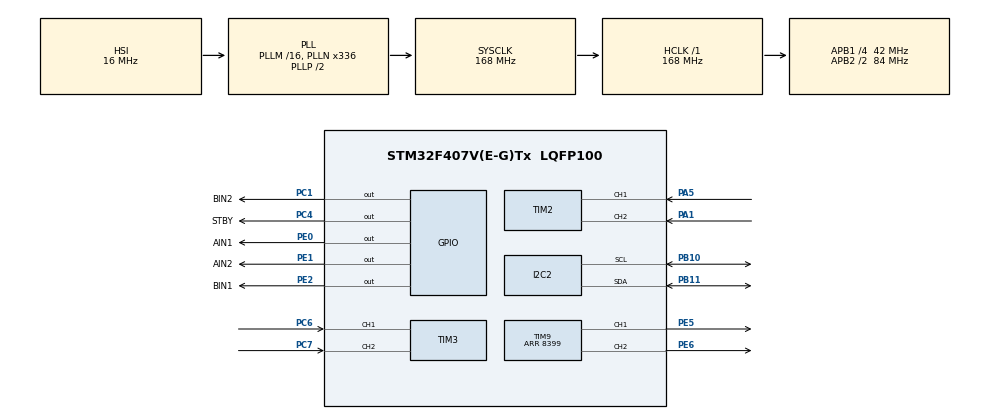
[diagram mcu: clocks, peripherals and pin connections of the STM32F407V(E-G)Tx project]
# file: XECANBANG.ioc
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Mcu.Family=STM32F4
Mcu.Name=STM32F407V(E-G)Tx
Mcu.Package=LQFP100
NVIC.PriorityGroup=NVIC_PRIORITYGROUP_4
NVIC.TIM6_DAC_IRQn=true\:0\:0\:false\:false\:true\:true\:true\:true
PA1.Signal=S_TIM2_CH2
PA13.Mode=Serial_Wire
PA13.Signal=SYS_JTMS-SWDIO
PA14.Mode=Serial_Wire
PA14.Signal=SYS_JTCK-SWCLK
PA5.Signal=S_TIM2_CH1
PB10.Mode=I2C
PB10.Signal=I2C2_SCL
PB11.Mode=I2C
PB11.Signal=I2C2_SDA
PC1.GPIO_Label=BIN2
PC1.Signal=GPIO_Output
PC4.GPIO_Label=STBY
PC4.Signal=GPIO_Output
PC6.Signal=S_TIM3_CH1
PC7.Signal=S_TIM3_CH2
PE0.GPIO_Label=AIN1
PE0.Signal=GPIO_Output
PE1.GPIO_Label=AIN2
PE1.Signal=GPIO_Output
PE2.GPIO_Label=BIN1
PE2.Signal=GPIO_Output
PE5.Signal=S_TIM9_CH1
PE6.Signal=S_TIM9_CH2
ProjectManager.HeapSize=0x200
ProjectManager.StackSize=0x400
ProjectManager.TargetToolchain=STM32CubeIDE
RCC.48MHZClocksFreq_Value=84000000
RCC.AHBFreq_Value=168000000
RCC.APB1CLKDivider=RCC_HCLK_DIV4
RCC.APB1Freq_Value=42000000
RCC.APB1TimFreq_Value=84000000
RCC.APB2CLKDivider=RCC_HCLK_DIV2
RCC.APB2Freq_Value=84000000
RCC.APB2TimFreq_Value=168000000
RCC.CortexFreq_Value=168000000
RCC.HCLKFreq_Value=168000000
RCC.HSE_VALUE=25000000
RCC.HSI_VALUE=16000000
RCC.LSE_VALUE=32768
RCC.PLLN=336
RCC.SYSCLKFreq_VALUE=168000000
RCC.SYSCLKSource=RCC_SYSCLKSOURCE_PLLCLK
RCC.VCOOutputFreq_Value=336000000
SH.S_TIM2_CH1.0=TIM2_CH1,Encoder_Interface
SH.S_TIM2_CH2.0=TIM2_CH2,Encoder_Interface
SH.S_TIM3_CH1.0=TIM3_CH1,Encoder_Interface
SH.S_TIM3_CH2.0=TIM3_CH2,Encoder_Interface
SH.S_TIM9_CH1.0=TIM9_CH1,PWM Generation1 CH1
SH.S_TIM9_CH2.0=TIM9_CH2,PWM Generation2 CH2
TIM2.EncoderMode=TIM_ENCODERMODE_TI12
TIM2.IC1Filter=4
TIM2.IC2Filter=4
TIM3.EncoderMode=TIM_ENCODERMODE_TI12
TIM3.IC1Filter=4
TIM3.IC1Prescaler=TIM_ICPSC_DIV1
TIM3.IC2Filter=4
TIM6.Period=3999
TIM6.Prescaler=83
TIM9.Channel-PWM\ Generation1\ CH1=TIM_CHANNEL_1
TIM9.Channel-PWM\ Generation2\ CH2=TIM_CHANNEL_2
TIM9.Period=8399
VP_TIM6_VS_ClockSourceINT.Mode=Enable_Timer
VP_TIM9_VS_ClockSourceINT.Mode=Internal
board=custom

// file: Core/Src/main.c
/* USER CODE BEGIN Header */
/**
  ******************************************************************************
  * @file           : main.c
  * @brief          : Xe tu can bang STM32F407 - MPU6050 + TB6612 + 2 encoder
  *
  * VIET LAI THEO KIEN TRUC DA CHUNG MINH CHAY DUOC:
  *   - Vong lap polling HAL_GetTick (khong dung TIM6 flag phuc tap)
  *   - MPU6050_Init + Calibrate don gian
  *   - state machine IDLE/RUN/FAULT ro rang
  *   - an toan: STBY thap khi boot, khong tu chay motor, IMU loi -> ngat
  *
  * Debug qua Live Expressions (g_...).
  ******************************************************************************
  */
/* USER CODE END Header */

#include "main.h"

/* USER CODE BEGIN Includes */
#include "mpu6050.h"
#include "motor.h"
#include "encoder.h"
#include "balance_control.h"
#include <math.h>
#include <stdbool.h>
/* USER CODE END Includes */

/* USER CODE BEGIN PD */
#define LOOP_MS         4U          /* 4ms = 250Hz */
#define DT_S            0.004f
#define ARM_ANGLE_DEG   10.0f       /* chi ARM khi gan thang dung */
#define ARM_GYRO_DPS    40.0f       /* ...va gan nhu dung yen */
#define ARM_HOLD_MS     1000U       /* giu lien tuc 1s */
#define TILT_CUTOFF_DEG 50.0f       /* nghieng qua -> cat motor */
/* USER CODE END PD */

I2C_HandleTypeDef hi2c2;
TIM_HandleTypeDef htim2;
TIM_HandleTypeDef htim3;
TIM_HandleTypeDef htim6;
TIM_HandleTypeDef htim9;

/* USER CODE BEGIN PV */

/* ---- Module dieu khien ---- */
MPU6050_Data_t   g_imu;
Motor_Handle_t   g_motor;
Encoder_Handle_t g_enc_left;    /* TIM3 - encoder trai  */
Encoder_Handle_t g_enc_right;   /* TIM2 - encoder phai  */
Balance_t        g_balance;

/* Trang thai he thong (giong code chay duoc) */
typedef enum { ST_IDLE = 0, ST_RUN = 1, ST_FAULT = 2 } SysState_t;
volatile SysState_t g_state = ST_RUN;

/* Bien chinh/hieu chinh qua debugger (Live Expressions):
 *   g_arm_request = 1 -> ARM; 0 -> DISARM
 *   g_calib_request = 1 -> calibrate lai (xe dung yen)
 *   g_motor_test = -pwm..+pwm -> test motor truc tiep (banh nhac khoi dat)
 *   g_auto_arm = 1 -> tu ARM khi giu thang dung 1s
 *   g_kp / g_kd -> he so PD                                             */
volatile int32_t g_arm_request   = 0;
volatile int32_t g_calib_request = 0;
volatile int32_t g_motor_test    = 0;
volatile int32_t g_auto_arm      = 1;   /* 1 = tu ARM khi giu thang dung ~1s
                                         * -> chi can cap nguon + dung xe,
                                         * khong can debugger van chay duoc.  */
volatile float   g_kp            = 0.0f;   /* de 0 -> dung gain tu Balance_Init */
volatile float   g_kd            = 0.0f;   /* de 0 -> dung Balance_Init         */
volatile float   g_deadband      = 0.0f;   /* de 0 -> dung Balance_Init         */
volatile int32_t g_trim_left     = 100;    /* bu luc banh trai — giam         */
volatile int32_t g_trim_right    = 0;      /* bu luc banh phai                */
volatile float   g_target_angle  = 0.0f;   /* offset goc can bang              */
volatile int32_t g_spd_loop_en   = 0;      /* vong toc do TAT — chi PD          */
volatile float   g_spd_kp        = 0.0f;
volatile float   g_spd_ki        = 0.0f;
volatile int32_t g_pos_loop_en   = 0;      /* vong vi tri TAT — chi PD          */
volatile float   g_pos_kp        = 0.0f;
volatile float   g_pos_ki        = 0.0f;
volatile float   g_pos_max_deg   = 4.0f;

uint32_t last_time = 0;
uint32_t arm_ms    = 0;
uint8_t  imu_fail  = 0;

/* Gia tri mac dinh tu Balance_Init — ghi truc tiep vao g_balance khi debug */
/* ===================== LOG REAL-TIME (ring buffer) =====================
 * Moi chu ky dieu khien ghi 1 ban ghi vao vong dem. Dung debugger doc:
 *   g_log_idx     -> chi so ghi tiep theo (vong)
 *   g_log[N].angle, .rate, .control, .target, .spd, .error, .status
 *   g_log_count   -> tong so mau da ghi
 * Khi xe chay xong, pause debugger va doc g_log[] de phan tich.       */
#define LOG_SIZE   250u     /* ~1 giay du lieu @250Hz */
typedef struct {
  float   angle;
  float   rate;
  float   control;
  float   target;
  float   spd;
  float   error;
  uint8_t status;
  uint8_t tune_ok;
} LogEntry_t;

volatile LogEntry_t g_log[LOG_SIZE];
volatile uint32_t   g_log_idx   = 0;
volatile uint32_t   g_log_count = 0;

/* Snapshot tong hop: chi can doc g_diag la du de tune, khong can nhieu bien */
typedef struct {
  float angle, rate, control, target, spd, error;
  float max_angle_abs, max_rate_abs, max_spd_abs;
  uint8_t tune_ok, armed, status, connected, valid, calibrated;
  uint32_t err_count, total_err, last_hal_err;
  float gyro_x_dps, angle_acc;
} DiagSnapshot_t;
volatile DiagSnapshot_t g_diag;

volatile float b_kp_default     = 35.0f;   /* kp vua du -> khong saturate     */
volatile float b_kd_default     = 25.0f;   /* kd MANH -> ham dao dong         */
volatile float b_deadband_def   = 80.0f;   /* deadband nho -> khong giat      */
volatile float b_spd_kp_default = 0.05f;   /* P toc do                        */
volatile float b_spd_ki_default = 0.0f;
/* USER CODE END PV */

void SystemClock_Config(void);
static void MX_GPIO_Init(void);
static void MX_I2C2_Init(void);
static void MX_TIM2_Init(void);
static void MX_TIM3_Init(void);
static void MX_TIM6_Init(void);
static void MX_TIM9_Init(void);

/* USER CODE BEGIN 0 */

/* Trang thai an toan: tat motor + STBY thap */
static void Enter_Idle(void)
{
  g_state = ST_IDLE;
  Balance_Disarm(&g_balance);
  Motor_Disable(&g_motor);
  arm_ms = 0;
}

static void Enter_Fault(void)
{
  g_state = ST_FAULT;
  Balance_Disarm(&g_balance);
  Motor_Disable(&g_motor);
  arm_ms = 0;
}

/* USER CODE END 0 */

int main(void)
{

  /* MCU Configuration--------------------------------------------------------*/
  HAL_Init();

  SystemClock_Config();

  /* Initialize all configured peripherals */
  MX_GPIO_Init();
  MX_I2C2_Init();
  MX_TIM2_Init();
  MX_TIM3_Init();
  MX_TIM6_Init();
  MX_TIM9_Init();
  /* USER CODE BEGIN 2 */

  /* An toan ngay tu dau */
  HAL_GPIO_WritePin(STBY_GPIO_Port, STBY_Pin, GPIO_PIN_RESET);

  Motor_Init(&g_motor, &htim9);
  Motor_SetPwmLimit(&g_motor, 2500);   /* gioi han ~30% — mem, khong saturate  */
  Motor_SetInvert(&g_motor, false, true); /* banh PHAI nguoc (quay lai khi tien) */
  Motor_SetTrim(&g_motor, 150, 0);        /* bu luc banh trai (yeu hon)    */

  Encoder_Init(&g_enc_left,  &htim3, false);
  Encoder_Init(&g_enc_right, &htim2, true);
  g_enc_left.invert  = true;    /* encoder trai dem am khi tien (du lieu test) */
  g_enc_right.invert = false;

  Balance_Init(&g_balance);

  /* IMU init + calibrate — xe phai dung yen, thang dung ~2s */
  bool imu_ok = false;
  for (int i = 0; i < 5 && !imu_ok; i++) {
    imu_ok = MPU6050_Init(&hi2c2, &g_imu);
    if (!imu_ok) HAL_Delay(200);
  }
  if (imu_ok) {
    MPU6050_Calibrate(&g_imu, MPU6050_CALIB_SAMPLES, HAL_Delay);
  }

  /* Cho bo loc hoi tu */
  for (int i = 0; i < 100 && imu_ok; i++) {
    MPU6050_Update(&g_imu, DT_S);
    HAL_Delay(4);
  }

  HAL_TIM_Base_Start_IT(&htim6);   /* van bat TIM6 nhung khong dung flag phuc tap */
  last_time = HAL_GetTick();
  /* USER CODE END 2 */

  /* Infinite loop */
  /* USER CODE BEGIN WHILE */
  while (1)
  {
    uint32_t now = HAL_GetTick();
    if ((now - last_time) < LOOP_MS) {
      continue;
    }
    /* Chong troi chu ky: neu tre qua lau thi dong bo lai */
    if ((now - last_time) > (5U * LOOP_MS)) { last_time = now; }
    else                                    { last_time += LOOP_MS; }

    /* ---------- Xu ly yeu cau debugger ---------- */
    if (g_calib_request && !g_balance.armed) {
      g_calib_request = 0;
      MPU6050_Calibrate(&g_imu, MPU6050_CALIB_SAMPLES, HAL_Delay);
    }

    /* ---------- IMU ---------- */
    if (!MPU6050_Update(&g_imu, DT_S)) {
      Motor_Stop(&g_motor);
      if (++imu_fail >= 3U) { Enter_Fault(); continue; }
    }
    imu_fail = 0U;

    /* ---------- Encoder ---------- */
    Encoder_Update(&g_enc_left,  DT_S);
    Encoder_Update(&g_enc_right, DT_S);
    /* Toc do trung binh 2 banh (counts/s) cho vong dieu khien toc do */
    Balance_SetWheelSpeed(&g_balance, 0.5f * (g_enc_left.speed_cps + g_enc_right.speed_cps));
    /* Vi tri trung binh 2 banh (counts tich luy) cho vong vi tri */
    Balance_SetPosition(&g_balance, 0.5f * ((float)g_enc_left.count_total + (float)g_enc_right.count_total));

    /* ---------- Test motor truc tiep (bypass, chi khi DISARM) ---------- */
    if (g_motor_test != 0 && !g_balance.armed && !g_auto_arm) {
      if (!g_motor.enabled) Motor_Enable(&g_motor);
      int16_t t = (int16_t)g_motor_test;
      if (t >  (int16_t)g_motor.pwm_max) t =  (int16_t)g_motor.pwm_max;
      if (t < -(int16_t)g_motor.pwm_max) t = -(int16_t)g_motor.pwm_max;
      Motor_SetBoth(&g_motor, t, t);
      continue;
    }
    if (g_motor_test == 0 && !g_balance.armed && g_motor.enabled
        && (g_motor.cmd_left != 0 || g_motor.cmd_right != 0)) {
      Motor_Stop(&g_motor);
    }

    /* ---------- ARM: thu cong (g_arm_request) hoac tu dong (g_auto_arm) ---- */
    bool want_arm = false;
    if (g_auto_arm) {
      /* Tu ARM khi gan thang dung + yen, giu 1s */
      float a = g_imu.angle; if (a < 0) a = -a;
      float r = g_imu.gyro_x_dps; if (r < 0) r = -r;
      if (g_imu.connected && g_imu.valid && g_imu.calibrated
          && a < ARM_ANGLE_DEG && r < ARM_GYRO_DPS) {
        arm_ms += LOOP_MS;
        if (arm_ms >= ARM_HOLD_MS) want_arm = true;
      } else {
        arm_ms = 0;
      }
    } else if (g_arm_request) {
      /* Thu cong: chi ARM khi IMU ok (edge-trigger, khong can hold) */
      static bool arm_latch = false;
      if (!arm_latch && g_imu.connected && g_imu.valid && g_imu.calibrated) {
        want_arm = true;
      }
      arm_latch = true;
    } else {
      arm_ms = 0;
      static bool arm_latch_reset = true;
      (void)arm_latch_reset;
    }

    if (want_arm && !g_balance.armed && g_state != ST_FAULT) {
      Motor_Enable(&g_motor);
      Balance_Arm(&g_balance);
      g_state = ST_RUN;
    }

    /* ---------- An toan + dieu khien ---------- */
    /* Cap nhat kp/kd/deadband + trim lien tuc tu bien debug */
    g_balance.kp           = (g_kp != 0.0f) ? g_kp : b_kp_default;
    g_balance.kd           = (g_kd != 0.0f) ? g_kd : b_kd_default;
    g_balance.deadband     = (g_deadband != 0.0f) ? g_deadband : b_deadband_def;
    g_balance.target_angle = g_target_angle;
    g_motor.trim_left      = (int16_t)g_trim_left;
    g_motor.trim_right     = (int16_t)g_trim_right;
    g_balance.spd_kp       = (g_spd_kp != 0.0f) ? g_spd_kp : b_spd_kp_default;
    g_balance.spd_ki       = (g_spd_ki != 0.0f) ? g_spd_ki : b_spd_ki_default;
    g_balance.spd_loop_en  = (g_spd_loop_en != 0);
    g_balance.pos_kp       = (g_pos_kp != 0.0f) ? g_pos_kp : 0.005f;
    g_balance.pos_ki       = (g_pos_ki != 0.0f) ? g_pos_ki : 0.0f;
    g_balance.pos_max_deg  = g_pos_max_deg;
    g_balance.pos_loop_en  = (g_pos_loop_en != 0);

    if (g_state == ST_RUN && g_balance.armed) {
      float ang = g_imu.angle;
      if (ang < 0) ang = -ang;
      if (ang > TILT_CUTOFF_DEG) { Enter_Idle(); continue; }
      Balance_Update(&g_balance, &g_imu, &g_motor);
    }
    /* state ST_IDLE / ST_FAULT: khong lam gi, motor da tat */

    /* ---------- Ghi log moi chu ky ---------- */
    g_log[g_log_idx].angle   = g_balance.log_angle;
    g_log[g_log_idx].rate    = g_balance.log_rate;
    g_log[g_log_idx].control = g_balance.log_control;
    g_log[g_log_idx].target  = g_balance.log_target;
    g_log[g_log_idx].spd     = g_balance.log_spd;
    g_log[g_log_idx].error   = g_balance.log_error;
    g_log[g_log_idx].status  = g_balance.log_status;
    g_log[g_log_idx].tune_ok = g_balance.log_tune_ok;
    g_log_idx = (g_log_idx + 1u) % LOG_SIZE;
    g_log_count++;

    /* ---------- Snapshot tong hop cho debug ---------- */
    g_diag.angle         = g_balance.log_angle;
    g_diag.rate          = g_balance.log_rate;
    g_diag.control       = g_balance.log_control;
    g_diag.target        = g_balance.log_target;
    g_diag.spd           = g_balance.log_spd;
    g_diag.error         = g_balance.log_error;
    g_diag.max_angle_abs = g_balance.max_angle_abs;
    g_diag.max_rate_abs  = g_balance.max_rate_abs;
    g_diag.max_spd_abs   = g_balance.max_spd_abs;
    g_diag.tune_ok       = g_balance.tune_ok;
    g_diag.armed         = g_balance.armed ? 1 : 0;
    g_diag.status        = (uint8_t)g_balance.status;
    g_diag.connected     = g_imu.connected ? 1 : 0;
    g_diag.valid         = g_imu.valid ? 1 : 0;
    g_diag.calibrated    = g_imu.calibrated ? 1 : 0;
    g_diag.err_count     = g_imu.err_count;
    g_diag.total_err     = g_imu.total_err;
    g_diag.last_hal_err  = g_imu.last_hal_err;
    g_diag.gyro_x_dps    = g_imu.gyro_x_dps;
    g_diag.angle_acc     = g_imu.angle_acc;
  }
  /* USER CODE END WHILE */

}

void SystemClock_Config(void)
{
  RCC_OscInitTypeDef RCC_OscInitStruct = {0};
  RCC_ClkInitTypeDef RCC_ClkInitStruct = {0};

  __HAL_RCC_PWR_CLK_ENABLE();
  __HAL_PWR_VOLTAGESCALING_CONFIG(PWR_REGULATOR_VOLTAGE_SCALE1);

  RCC_OscInitStruct.OscillatorType = RCC_OSCILLATORTYPE_HSI;
  RCC_OscInitStruct.HSIState = RCC_HSI_ON;
  RCC_OscInitStruct.HSICalibrationValue = RCC_HSICALIBRATION_DEFAULT;
  RCC_OscInitStruct.PLL.PLLState = RCC_PLL_ON;
  RCC_OscInitStruct.PLL.PLLSource = RCC_PLLSOURCE_HSI;
  RCC_OscInitStruct.PLL.PLLM = 16;
  RCC_OscInitStruct.PLL.PLLN = 336;
  RCC_OscInitStruct.PLL.PLLP = RCC_PLLP_DIV2;
  RCC_OscInitStruct.PLL.PLLQ = 4;
  if (HAL_RCC_OscConfig(&RCC_OscInitStruct) != HAL_OK)
  {
    Error_Handler();
  }

  RCC_ClkInitStruct.ClockType = RCC_CLOCKTYPE_HCLK|RCC_CLOCKTYPE_SYSCLK
                              |RCC_CLOCKTYPE_PCLK1|RCC_CLOCKTYPE_PCLK2;
  RCC_ClkInitStruct.SYSCLKSource = RCC_SYSCLKSOURCE_PLLCLK;
  RCC_ClkInitStruct.AHBCLKDivider = RCC_SYSCLK_DIV1;
  RCC_ClkInitStruct.APB1CLKDivider = RCC_HCLK_DIV4;
  RCC_ClkInitStruct.APB2CLKDivider = RCC_HCLK_DIV2;

  if (HAL_RCC_ClockConfig(&RCC_ClkInitStruct, FLASH_LATENCY_5) != HAL_OK)
  {
    Error_Handler();
  }
}

static void MX_I2C2_Init(void)
{
  hi2c2.Instance = I2C2;
  hi2c2.Init.ClockSpeed = 100000;
  hi2c2.Init.DutyCycle = I2C_DUTYCYCLE_2;
  hi2c2.Init.OwnAddress1 = 0;
  hi2c2.Init.AddressingMode = I2C_ADDRESSINGMODE_7BIT;
  hi2c2.Init.DualAddressMode = I2C_DUALADDRESS_DISABLE;
  hi2c2.Init.OwnAddress2 = 0;
  hi2c2.Init.GeneralCallMode = I2C_GENERALCALL_DISABLE;
  hi2c2.Init.NoStretchMode = I2C_NOSTRETCH_DISABLE;
  if (HAL_I2C_Init(&hi2c2) != HAL_OK)
  {
    Error_Handler();
  }
}

static void MX_TIM2_Init(void)
{
  TIM_Encoder_InitTypeDef sConfig = {0};
  TIM_MasterConfigTypeDef sMasterConfig = {0};

  htim2.Instance = TIM2;
  htim2.Init.Prescaler = 0;
  htim2.Init.CounterMode = TIM_COUNTERMODE_UP;
  htim2.Init.Period = 4294967295;
  htim2.Init.ClockDivision = TIM_CLOCKDIVISION_DIV1;
  htim2.Init.AutoReloadPreload = TIM_AUTORELOAD_PRELOAD_DISABLE;
  sConfig.EncoderMode = TIM_ENCODERMODE_TI12;
  sConfig.IC1Polarity = TIM_ICPOLARITY_RISING;
  sConfig.IC1Selection = TIM_ICSELECTION_DIRECTTI;
  sConfig.IC1Prescaler = TIM_ICPSC_DIV1;
  sConfig.IC1Filter = 4;
  sConfig.IC2Polarity = TIM_ICPOLARITY_RISING;
  sConfig.IC2Selection = TIM_ICSELECTION_DIRECTTI;
  sConfig.IC2Prescaler = TIM_ICPSC_DIV1;
  sConfig.IC2Filter = 4;
  if (HAL_TIM_Encoder_Init(&htim2, &sConfig) != HAL_OK)
  {
    Error_Handler();
  }
  sMasterConfig.MasterOutputTrigger = TIM_TRGO_RESET;
  sMasterConfig.MasterSlaveMode = TIM_MASTERSLAVEMODE_DISABLE;
  if (HAL_TIMEx_MasterConfigSynchronization(&htim2, &sMasterConfig) != HAL_OK)
  {
    Error_Handler();
  }
}

static void MX_TIM3_Init(void)
{
  TIM_Encoder_InitTypeDef sConfig = {0};
  TIM_MasterConfigTypeDef sMasterConfig = {0};

  htim3.Instance = TIM3;
  htim3.Init.Prescaler = 0;
  htim3.Init.CounterMode = TIM_COUNTERMODE_UP;
  htim3.Init.Period = 65535;
  htim3.Init.ClockDivision = TIM_CLOCKDIVISION_DIV1;
  htim3.Init.AutoReloadPreload = TIM_AUTORELOAD_PRELOAD_DISABLE;
  sConfig.EncoderMode = TIM_ENCODERMODE_TI12;
  sConfig.IC1Polarity = TIM_ICPOLARITY_RISING;
  sConfig.IC1Selection = TIM_ICSELECTION_DIRECTTI;
  sConfig.IC1Prescaler = TIM_ICPSC_DIV1;
  sConfig.IC1Filter = 4;
  sConfig.IC2Polarity = TIM_ICPOLARITY_RISING;
  sConfig.IC2Selection = TIM_ICSELECTION_DIRECTTI;
  sConfig.IC2Prescaler = TIM_ICPSC_DIV1;
  sConfig.IC2Filter = 4;
  if (HAL_TIM_Encoder_Init(&htim3, &sConfig) != HAL_OK)
  {
    Error_Handler();
  }
  sMasterConfig.MasterOutputTrigger = TIM_TRGO_RESET;
  sMasterConfig.MasterSlaveMode = TIM_MASTERSLAVEMODE_DISABLE;
  if (HAL_TIMEx_MasterConfigSynchronization(&htim3, &sMasterConfig) != HAL_OK)
  {
    Error_Handler();
  }
}

static void MX_TIM6_Init(void)
{
  TIM_MasterConfigTypeDef sMasterConfig = {0};

  htim6.Instance = TIM6;
  htim6.Init.Prescaler = 83;
  htim6.Init.CounterMode = TIM_COUNTERMODE_UP;
  htim6.Init.Period = 3999;
  htim6.Init.AutoReloadPreload = TIM_AUTORELOAD_PRELOAD_DISABLE;
  if (HAL_TIM_Base_Init(&htim6) != HAL_OK)
  {
    Error_Handler();
  }
  sMasterConfig.MasterOutputTrigger = TIM_TRGO_RESET;
  sMasterConfig.MasterSlaveMode = TIM_MASTERSLAVEMODE_DISABLE;
  if (HAL_TIMEx_MasterConfigSynchronization(&htim6, &sMasterConfig) != HAL_OK)
  {
    Error_Handler();
  }
}

static void MX_TIM9_Init(void)
{
  TIM_ClockConfigTypeDef sClockSourceConfig = {0};
  TIM_OC_InitTypeDef sConfigOC = {0};

  htim9.Instance = TIM9;
  htim9.Init.Prescaler = 0;
  htim9.Init.CounterMode = TIM_COUNTERMODE_UP;
  htim9.Init.Period = 8399;
  htim9.Init.ClockDivision = TIM_CLOCKDIVISION_DIV1;
  htim9.Init.AutoReloadPreload = TIM_AUTORELOAD_PRELOAD_DISABLE;
  if (HAL_TIM_Base_Init(&htim9) != HAL_OK)
  {
    Error_Handler();
  }
  sClockSourceConfig.ClockSource = TIM_CLOCKSOURCE_INTERNAL;
  if (HAL_TIM_ConfigClockSource(&htim9, &sClockSourceConfig) != HAL_OK)
  {
    Error_Handler();
  }
  if (HAL_TIM_PWM_Init(&htim9) != HAL_OK)
  {
    Error_Handler();
  }
  sConfigOC.OCMode = TIM_OCMODE_PWM1;
  sConfigOC.Pulse = 0;
  sConfigOC.OCPolarity = TIM_OCPOLARITY_HIGH;
  sConfigOC.OCFastMode = TIM_OCFAST_DISABLE;
  if (HAL_TIM_PWM_ConfigChannel(&htim9, &sConfigOC, TIM_CHANNEL_1) != HAL_OK)
  {
    Error_Handler();
  }
  if (HAL_TIM_PWM_ConfigChannel(&htim9, &sConfigOC, TIM_CHANNEL_2) != HAL_OK)
  {
    Error_Handler();
  }
  HAL_TIM_MspPostInit(&htim9);
}

static void MX_GPIO_Init(void)
{
  GPIO_InitTypeDef GPIO_InitStruct = {0};

  __HAL_RCC_GPIOE_CLK_ENABLE();
  __HAL_RCC_GPIOC_CLK_ENABLE();
  __HAL_RCC_GPIOA_CLK_ENABLE();
  __HAL_RCC_GPIOB_CLK_ENABLE();

  /* Output init LOW */
  HAL_GPIO_WritePin(GPIOE, BIN1_Pin|AIN1_Pin|AIN2_Pin, GPIO_PIN_RESET);
  HAL_GPIO_WritePin(GPIOC, BIN2_Pin|STBY_Pin, GPIO_PIN_RESET);

  /* AIN1, AIN2, BIN1 = output */
  GPIO_InitStruct.Pin = BIN1_Pin|AIN1_Pin|AIN2_Pin;
  GPIO_InitStruct.Mode = GPIO_MODE_OUTPUT_PP;
  GPIO_InitStruct.Pull = GPIO_NOPULL;
  GPIO_InitStruct.Speed = GPIO_SPEED_FREQ_LOW;
  HAL_GPIO_Init(GPIOE, &GPIO_InitStruct);

  /* BIN2, STBY = output */
  GPIO_InitStruct.Pin = BIN2_Pin|STBY_Pin;
  GPIO_InitStruct.Mode = GPIO_MODE_OUTPUT_PP;
  GPIO_InitStruct.Pull = GPIO_NOPULL;
  GPIO_InitStruct.Speed = GPIO_SPEED_FREQ_LOW;
  HAL_GPIO_Init(GPIOC, &GPIO_InitStruct);
}

void Error_Handler(void)
{
  /* USER CODE BEGIN Error_Handler_Debug */
  __disable_irq();
  TIM9->CCR1 = 0;
  TIM9->CCR2 = 0;
  GPIOC->BSRR = (uint32_t)GPIO_PIN_4 << 16U;   /* STBY = LOW */
  while (1)
  {
  }
  /* USER CODE END Error_Handler_Debug */
}
